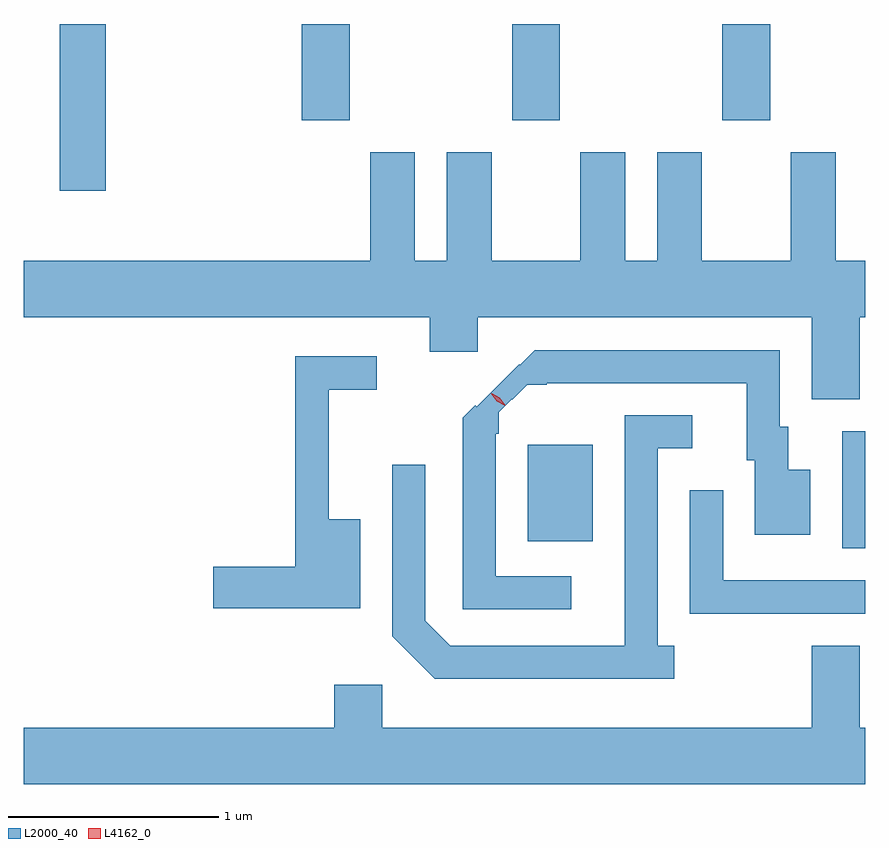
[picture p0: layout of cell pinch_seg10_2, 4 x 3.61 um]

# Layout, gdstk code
import gdstk
lib = gdstk.Library(unit=1e-6, precision=1e-09)
def R(c, l, rs):  # rectangles x0, y0, x1, y1
    for r in rs: c.add(gdstk.rectangle(r[:2], r[2:], *l))
def A(c, l, x, y, w, h, nx, ny, dx, dy):  # array of equal rectangles
    R(c, l, [(x+i*dx, y+j*dy, x+i*dx+w, y+j*dy+h) for i in range(nx) for j in range(ny)])
def P(c, l, *ps):  # polygons
    for p in ps: c.add(gdstk.Polygon(p, *l))
L2000_40 = (2000, 40)
L4162_0 = (4162, 0)

pinch_seg10_2 = lib.new_cell('pinch_seg10_2')
A(pinch_seg10_2, L2000_40, 839.506, 2192.551, 0.228, 0.458, 3, 1, 1, 0)
R(pinch_seg10_2, L2000_40, [(842.076,2190.516,842.185,2191.074), (840.581,2190.551,840.889,2191.009), (838.356,2192.216,838.574,2193.009)])
P(pinch_seg10_2, L2000_40, [(840.831,2192.399),(840.831,2191.884),(840.409,2191.884),(840.409,2192.399),(840.196,2192.399),(840.196,2191.884),(840.044,2191.884),(840.044,2192.399),(839.831,2192.399),(839.831,2191.884),(838.185,2191.884),(838.185,2191.616),(840.116,2191.616),(840.116,2191.451),(840.344,2191.451),(840.344,2191.616),(841.931,2191.616),(841.931,2191.226),(842.159,2191.226),(842.159,2191.616),(842.185,2191.616),(842.185,2191.884),(842.044,2191.884),(842.044,2192.399),(841.831,2192.399),(841.831,2191.884),(841.409,2191.884),(841.409,2192.399),(841.196,2192.399),(841.196,2191.884),(841.044,2191.884),(841.044,2192.399)],
  [(840.788,2190.384),(840.429,2190.384),(840.429,2191.06),(840.443,2191.06),(840.443,2191.164),(840.505,2191.226),(840.507,2191.223),(840.578,2191.294),(840.67,2191.294),(840.67,2191.301),(841.621,2191.301),(841.621,2190.936),(841.661,2190.936),(841.661,2190.581),(841.924,2190.581),(841.924,2190.889),(841.819,2190.889),(841.819,2191.094),(841.779,2191.094),(841.779,2191.459),(840.615,2191.459),(840.544,2191.389),(840.541,2191.391),(840.339,2191.189),(840.332,2191.196),(840.271,2191.136),(840.271,2190.226),(840.788,2190.226)],
  [(839.784,2190.654),(839.634,2190.654),(839.634,2191.271),(839.863,2191.271),(839.863,2191.429),(839.476,2191.429),(839.476,2190.429),(839.086,2190.429),(839.086,2190.231),(839.784,2190.231)],
  [(841.278,2190.054),(841.199,2190.054),(841.199,2190.991),(841.363,2190.991),(841.363,2191.149),(841.041,2191.149),(841.041,2190.054),(840.212,2190.054),(840.094,2190.172),(840.094,2190.913),(839.936,2190.913),(839.936,2190.099),(840.139,2189.896),(841.278,2189.896)],
  [(842.185,2190.364),(841.509,2190.364),(841.509,2190.793),(841.351,2190.793),(841.351,2190.206),(842.185,2190.206)],
  [(842.185,2189.664),(842.159,2189.664),(842.159,2190.054),(841.931,2190.054),(841.931,2189.664),(839.889,2189.664),(839.889,2189.869),(839.661,2189.869),(839.661,2189.664),(838.185,2189.664),(838.185,2189.396),(842.185,2189.396)])
P(pinch_seg10_2, L4162_0, [(840.473,2191.195),(840.434,2191.216),(840.407,2191.252),(840.407,2191.253),(840.408,2191.253),(840.447,2191.232),(840.474,2191.196),(840.474,2191.195)],
  [(840.468,2191.198),(840.434,2191.218),(840.413,2191.25),(840.413,2191.251),(840.414,2191.251),(840.448,2191.232),(840.468,2191.199),(840.468,2191.198)])

lib.write_gds('pinch_seg10_2.gds')
